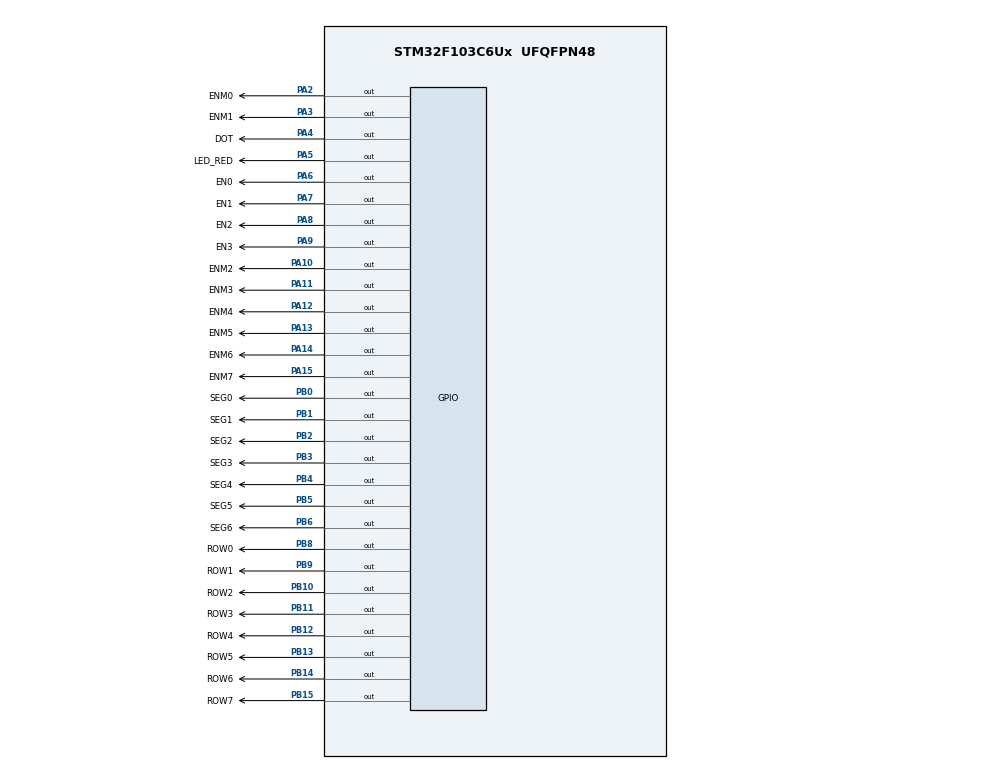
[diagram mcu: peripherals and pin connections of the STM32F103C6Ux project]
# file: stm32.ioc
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Mcu.Family=STM32F1
Mcu.Name=STM32F103C6Ux
Mcu.Package=UFQFPN48
NVIC.PriorityGroup=NVIC_PRIORITYGROUP_4
NVIC.TIM2_IRQn=true\:0\:0\:false\:false\:true\:true\:true
PA10.GPIO_Label=ENM2
PA10.Signal=GPIO_Output
PA11.GPIO_Label=ENM3
PA11.Signal=GPIO_Output
PA12.GPIO_Label=ENM4
PA12.Signal=GPIO_Output
PA13.GPIO_Label=ENM5
PA13.Signal=GPIO_Output
PA14.GPIO_Label=ENM6
PA14.Signal=GPIO_Output
PA15.GPIO_Label=ENM7
PA15.Signal=GPIO_Output
PA2.GPIO_Label=ENM0
PA2.Signal=GPIO_Output
PA3.GPIO_Label=ENM1
PA3.Signal=GPIO_Output
PA4.GPIO_Label=DOT
PA4.Signal=GPIO_Output
PA5.GPIO_Label=LED_RED
PA5.Signal=GPIO_Output
PA6.GPIO_Label=EN0
PA6.Signal=GPIO_Output
PA7.GPIO_Label=EN1
PA7.Signal=GPIO_Output
PA8.GPIO_Label=EN2
PA8.Signal=GPIO_Output
PA9.GPIO_Label=EN3
PA9.Signal=GPIO_Output
PB0.GPIO_Label=SEG0
PB0.Signal=GPIO_Output
PB1.GPIO_Label=SEG1
PB1.Signal=GPIO_Output
PB10.GPIO_Label=ROW2
PB10.Signal=GPIO_Output
PB11.GPIO_Label=ROW3
PB11.Signal=GPIO_Output
PB12.GPIO_Label=ROW4
PB12.Signal=GPIO_Output
PB13.GPIO_Label=ROW5
PB13.Signal=GPIO_Output
PB14.GPIO_Label=ROW6
PB14.Signal=GPIO_Output
PB15.GPIO_Label=ROW7
PB15.Signal=GPIO_Output
PB2.GPIO_Label=SEG2
PB2.Signal=GPIO_Output
PB3.GPIO_Label=SEG3
PB3.Signal=GPIO_Output
PB4.GPIO_Label=SEG4
PB4.Signal=GPIO_Output
PB5.GPIO_Label=SEG5
PB5.Signal=GPIO_Output
PB6.GPIO_Label=SEG6
PB6.Signal=GPIO_Output
PB8.GPIO_Label=ROW0
PB8.Signal=GPIO_Output
PB9.GPIO_Label=ROW1
PB9.Signal=GPIO_Output
ProjectManager.HeapSize=0x200
ProjectManager.StackSize=0x400
ProjectManager.TargetToolchain=STM32CubeIDE
RCC.APB1Freq_Value=8000000
RCC.APB2Freq_Value=8000000
TIM2.Period=9
TIM2.Prescaler=7999
VP_SYS_VS_ND.Mode=No_Debug
VP_TIM2_VS_ClockSourceINT.Mode=Internal
board=custom

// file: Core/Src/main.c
/* USER CODE BEGIN Header */
/**
  ******************************************************************************
  * @file           : main.c
  * @brief          : Main program body
  ******************************************************************************
  * @attention
  *
  * <h2><center>&copy; Copyright (c) 2022 STMicroelectronics.
  * All rights reserved.</center></h2>
  *
  * This software component is licensed by ST under BSD 3-Clause license,
  * the "License"; You may not use this file except in compliance with the
  * License. You may obtain a copy of the License at:
  *                        opensource.org/licenses/BSD-3-Clause
  *
  ******************************************************************************
  */
/* USER CODE END Header */
#include "main.h"

/* USER CODE BEGIN Includes */
//#include "fsm_automatic.h"
//#include "global.h"
#include "software_timer.h"
/* USER CODE END Includes */

TIM_HandleTypeDef htim2;

void SystemClock_Config(void);
static void MX_GPIO_Init(void);
static void MX_TIM2_Init(void);

int main(void)
{

  /* MCU Configuration--------------------------------------------------------*/

  /* Reset of all peripherals, Initializes the Flash interface and the Systick. */
  HAL_Init();

  /* Configure the system clock */
  SystemClock_Config();

  /* Initialize all configured peripherals */
  MX_GPIO_Init();
  MX_TIM2_Init();
  /* USER CODE BEGIN 2 */
  HAL_TIM_Base_Start_IT(&htim2);
  /* USER CODE END 2 */

  /* Infinite loop */
  /* USER CODE BEGIN WHILE */
  /*int led = 1;
  int index_led = 0;
  int led_buffer[4] = {0, 1, 2, 3};
  int hour = 15, minute = 8, second = 50;
  void updateClockBuffer(){
	  led_buffer[0]=(int)(hour/10);
	  led_buffer[1]=hour-10*(int)(hour/10);
	  led_buffer[2]=(int)(minute/10);
	  led_buffer[3]=minute-10*(int)(minute/10);
  }
  void display7SEG(int number){
  	HAL_GPIO_WritePin(SEG0_GPIO_Port,SEG0_Pin,0);
  	HAL_GPIO_WritePin(SEG1_GPIO_Port,SEG1_Pin,0);
  	HAL_GPIO_WritePin(SEG2_GPIO_Port,SEG2_Pin,0);
  	HAL_GPIO_WritePin(SEG3_GPIO_Port,SEG3_Pin,0);
  	HAL_GPIO_WritePin(SEG4_GPIO_Port,SEG4_Pin,0);
  	HAL_GPIO_WritePin(SEG5_GPIO_Port,SEG5_Pin,0);
  	HAL_GPIO_WritePin(SEG6_GPIO_Port,SEG6_Pin,0);
  	switch(number){
  	case 0:
  		HAL_GPIO_WritePin(SEG6_GPIO_Port,SEG6_Pin,1);
  		break;
  	case 1:
  		HAL_GPIO_WritePin(SEG0_GPIO_Port,SEG0_Pin,1);
  		HAL_GPIO_WritePin(SEG3_GPIO_Port,SEG3_Pin,1);
  		HAL_GPIO_WritePin(SEG4_GPIO_Port,SEG4_Pin,1);
  		HAL_GPIO_WritePin(SEG5_GPIO_Port,SEG5_Pin,1);
  		HAL_GPIO_WritePin(SEG6_GPIO_Port,SEG6_Pin,1);
  		break;
  	case 2:
  		HAL_GPIO_WritePin(SEG2_GPIO_Port,SEG2_Pin,1);
  		HAL_GPIO_WritePin(SEG5_GPIO_Port,SEG5_Pin,1);
  		break;
  	case 3:
  		HAL_GPIO_WritePin(SEG5_GPIO_Port,SEG5_Pin,1);
  		HAL_GPIO_WritePin(SEG4_GPIO_Port,SEG4_Pin,1);
  		break;
  	case 4:
  		HAL_GPIO_WritePin(SEG0_GPIO_Port,SEG0_Pin,1);
  		HAL_GPIO_WritePin(SEG3_GPIO_Port,SEG3_Pin,1);
  		HAL_GPIO_WritePin(SEG4_GPIO_Port,SEG4_Pin,1);
  		break;
  	case 5:
  		HAL_GPIO_WritePin(SEG1_GPIO_Port,SEG1_Pin,1);
  		HAL_GPIO_WritePin(SEG4_GPIO_Port,SEG4_Pin,1);
  		break;
  	case 6:
  		HAL_GPIO_WritePin(SEG1_GPIO_Port,SEG1_Pin,1);
  		break;
  	case 7:
  		HAL_GPIO_WritePin(SEG3_GPIO_Port,SEG3_Pin,1);
  		HAL_GPIO_WritePin(SEG4_GPIO_Port,SEG4_Pin,1);
  		HAL_GPIO_WritePin(SEG5_GPIO_Port,SEG5_Pin,1);
  		HAL_GPIO_WritePin(SEG6_GPIO_Port,SEG6_Pin,1);
  		break;
  	case 8:
  		break;
  	case 9:
  		HAL_GPIO_WritePin(SEG4_GPIO_Port,SEG4_Pin,1);
  		break;
  	default: break;
  	}
  }

  void update7SEG(int index){
      switch (index){
          case 0:
              //Display the first 7SEG with led_buffer[0]
          	HAL_GPIO_WritePin(EN0_GPIO_Port, EN0_Pin, GPIO_PIN_RESET);
          	HAL_GPIO_WritePin(EN1_GPIO_Port, EN1_Pin, GPIO_PIN_SET);
          	HAL_GPIO_WritePin(EN2_GPIO_Port, EN2_Pin, GPIO_PIN_SET);
          	HAL_GPIO_WritePin(EN3_GPIO_Port, EN3_Pin, GPIO_PIN_SET);
          	display7SEG(led_buffer[0]);
              break;
          case 1:
              //Display the second 7SEG with led_buffer[1]
          	HAL_GPIO_WritePin(EN0_GPIO_Port, EN0_Pin, GPIO_PIN_SET);
          	HAL_GPIO_WritePin(EN1_GPIO_Port, EN1_Pin, GPIO_PIN_RESET);
          	HAL_GPIO_WritePin(EN2_GPIO_Port, EN2_Pin, GPIO_PIN_SET);
          	HAL_GPIO_WritePin(EN3_GPIO_Port, EN3_Pin, GPIO_PIN_SET);
          	display7SEG(led_buffer[1]);
              break;
          case 2:
              //Display the third 7SEG with led_buffer[2]
          	HAL_GPIO_WritePin(EN0_GPIO_Port, EN0_Pin, GPIO_PIN_SET);
          	HAL_GPIO_WritePin(EN1_GPIO_Port, EN1_Pin, GPIO_PIN_SET);
          	HAL_GPIO_WritePin(EN2_GPIO_Port, EN2_Pin, GPIO_PIN_RESET);
          	HAL_GPIO_WritePin(EN3_GPIO_Port, EN3_Pin, GPIO_PIN_SET);
          	display7SEG(led_buffer[2]);
              break;
          case 3:
              //Display the forth 7SEG with led_buffer[3]
          	HAL_GPIO_WritePin(EN0_GPIO_Port, EN0_Pin, GPIO_PIN_SET);
          	HAL_GPIO_WritePin(EN1_GPIO_Port, EN1_Pin, GPIO_PIN_SET);
          	HAL_GPIO_WritePin(EN2_GPIO_Port, EN2_Pin, GPIO_PIN_SET);
          	HAL_GPIO_WritePin(EN3_GPIO_Port, EN3_Pin, GPIO_PIN_RESET);
          	display7SEG(led_buffer[3]);
              break;
          default:
              break;
      }
  }*/
  const int MAX_LED_MATRIX = 8;
  int index_led_matrix = 0;
  uint8_t matrix_buffer[8] = {0xf8,0xfc,0x26,0x23,0x23,0x26,0xfc,0xf8};
  void updateLEDMatrix(int index){
      switch (index){
          case 0:
        	  //COL 0
        	  HAL_GPIO_WritePin(GPIOA, ENM0_Pin, GPIO_PIN_RESET);
        	  HAL_GPIO_WritePin(GPIOA, ENM1_Pin|ENM2_Pin|ENM3_Pin|ENM4_Pin|ENM5_Pin|ENM6_Pin|ENM7_Pin, GPIO_PIN_SET);
        	  //ROW
        	  HAL_GPIO_WritePin(GPIOB, matrix_buffer[index]<<8 ,GPIO_PIN_RESET);
        	  HAL_GPIO_WritePin(GPIOB, (~(matrix_buffer[index]<<8))&(0xFF00) ,GPIO_PIN_SET);
              break;
          case 1:
        	  //COL 1
        	  HAL_GPIO_WritePin(GPIOA, ENM1_Pin, GPIO_PIN_RESET);
        	  HAL_GPIO_WritePin(GPIOA, ENM0_Pin|ENM2_Pin|ENM3_Pin|ENM4_Pin|ENM5_Pin|ENM6_Pin|ENM7_Pin, GPIO_PIN_SET);
        	  //ROW
        	  HAL_GPIO_WritePin(GPIOB, matrix_buffer[index]<<8 ,GPIO_PIN_RESET);
        	  HAL_GPIO_WritePin(GPIOB, (~(matrix_buffer[index]<<8))&(0xFF00) ,GPIO_PIN_SET);
              break;
          case 2:
        	  //COL 2
        	  HAL_GPIO_WritePin(GPIOA, ENM2_Pin, GPIO_PIN_RESET);
        	  HAL_GPIO_WritePin(GPIOA, ENM1_Pin|ENM0_Pin|ENM3_Pin|ENM4_Pin|ENM5_Pin|ENM6_Pin|ENM7_Pin, GPIO_PIN_SET);
        	  //ROW
        	  HAL_GPIO_WritePin(GPIOB, matrix_buffer[index]<<8 ,GPIO_PIN_RESET);
        	  HAL_GPIO_WritePin(GPIOB, (~(matrix_buffer[index]<<8))&(0xFF00) ,GPIO_PIN_SET);
              break;
          case 3:
        	  //COL 2
        	  HAL_GPIO_WritePin(GPIOA, ENM2_Pin, GPIO_PIN_RESET);
        	  HAL_GPIO_WritePin(GPIOA, ENM1_Pin|ENM0_Pin|ENM3_Pin|ENM4_Pin|ENM5_Pin|ENM6_Pin|ENM7_Pin, GPIO_PIN_SET);
        	  //ROW
        	  HAL_GPIO_WritePin(GPIOB, matrix_buffer[index]<<8 ,GPIO_PIN_RESET);
        	  HAL_GPIO_WritePin(GPIOB, (~(matrix_buffer[index]<<8))&(0xFF00) ,GPIO_PIN_SET);
              break;
          case 4:
        	  //COL 4
        	  HAL_GPIO_WritePin(GPIOA, ENM4_Pin, GPIO_PIN_RESET);
        	  HAL_GPIO_WritePin(GPIOA, ENM1_Pin|ENM2_Pin|ENM3_Pin|ENM0_Pin|ENM5_Pin|ENM6_Pin|ENM7_Pin, GPIO_PIN_SET);
        	  //ROW
        	  HAL_GPIO_WritePin(GPIOB, matrix_buffer[index]<<8 ,GPIO_PIN_RESET);
        	  HAL_GPIO_WritePin(GPIOB, (~(matrix_buffer[index]<<8))&(0xFF00) ,GPIO_PIN_SET);
              break;
          case 5:
        	  //COL 5
        	  HAL_GPIO_WritePin(GPIOA, ENM5_Pin, GPIO_PIN_RESET);
        	  HAL_GPIO_WritePin(GPIOA, ENM1_Pin|ENM2_Pin|ENM3_Pin|ENM0_Pin|ENM4_Pin|ENM6_Pin|ENM7_Pin, GPIO_PIN_SET);
        	  //ROW
        	  HAL_GPIO_WritePin(GPIOB, matrix_buffer[index]<<8 ,GPIO_PIN_RESET);
        	  HAL_GPIO_WritePin(GPIOB, (~(matrix_buffer[index]<<8))&(0xFF00) ,GPIO_PIN_SET);
              break;
          case 6:
        	  //COL 6
        	  HAL_GPIO_WritePin(GPIOA, ENM6_Pin, GPIO_PIN_RESET);
        	  HAL_GPIO_WritePin(GPIOA, ENM1_Pin|ENM2_Pin|ENM3_Pin|ENM0_Pin|ENM5_Pin|ENM4_Pin|ENM7_Pin, GPIO_PIN_SET);
        	  //ROW
        	  HAL_GPIO_WritePin(GPIOB, matrix_buffer[index]<<8 ,GPIO_PIN_RESET);
        	  HAL_GPIO_WritePin(GPIOB, (~(matrix_buffer[index]<<8))&(0xFF00) ,GPIO_PIN_SET);
              break;
          case 7:
        	  //COL 7
        	  HAL_GPIO_WritePin(GPIOA, ENM7_Pin, GPIO_PIN_RESET);
        	  HAL_GPIO_WritePin(GPIOA, ENM1_Pin|ENM2_Pin|ENM3_Pin|ENM0_Pin|ENM5_Pin|ENM6_Pin|ENM4_Pin, GPIO_PIN_SET);
        	  //ROW
        	  HAL_GPIO_WritePin(GPIOB, matrix_buffer[index]<<8 ,GPIO_PIN_RESET);
        	  HAL_GPIO_WritePin(GPIOB, (~(matrix_buffer[index]<<8))&(0xFF00) ,GPIO_PIN_SET);
              break;
          default:
              break;
      }
  }

  setTimer0(100);
  while (1)
  {
    /* USER CODE END WHILE */
    /* USER CODE BEGIN 3 */
	  if(timer0_flag==1){
		  setTimer0(100);
		  if(index_led_matrix<MAX_LED_MATRIX)
		  updateLEDMatrix(index_led_matrix++);
		  if(index_led_matrix==MAX_LED_MATRIX) index_led_matrix=0;
	  }
  /* USER CODE END 3 */
  }
}
void SystemClock_Config(void)
{
  RCC_OscInitTypeDef RCC_OscInitStruct = {0};
  RCC_ClkInitTypeDef RCC_ClkInitStruct = {0};

  /** Initializes the RCC Oscillators according to the specified parameters
  * in the RCC_OscInitTypeDef structure.
  */
  RCC_OscInitStruct.OscillatorType = RCC_OSCILLATORTYPE_HSI;
  RCC_OscInitStruct.HSIState = RCC_HSI_ON;
  RCC_OscInitStruct.HSICalibrationValue = RCC_HSICALIBRATION_DEFAULT;
  RCC_OscInitStruct.PLL.PLLState = RCC_PLL_NONE;
  if (HAL_RCC_OscConfig(&RCC_OscInitStruct) != HAL_OK)
  {
    Error_Handler();
  }
  /** Initializes the CPU, AHB and APB buses clocks
  */
  RCC_ClkInitStruct.ClockType = RCC_CLOCKTYPE_HCLK|RCC_CLOCKTYPE_SYSCLK
                              |RCC_CLOCKTYPE_PCLK1|RCC_CLOCKTYPE_PCLK2;
  RCC_ClkInitStruct.SYSCLKSource = RCC_SYSCLKSOURCE_HSI;
  RCC_ClkInitStruct.AHBCLKDivider = RCC_SYSCLK_DIV1;
  RCC_ClkInitStruct.APB1CLKDivider = RCC_HCLK_DIV1;
  RCC_ClkInitStruct.APB2CLKDivider = RCC_HCLK_DIV1;

  if (HAL_RCC_ClockConfig(&RCC_ClkInitStruct, FLASH_LATENCY_0) != HAL_OK)
  {
    Error_Handler();
  }
}

static void MX_TIM2_Init(void)
{

  TIM_ClockConfigTypeDef sClockSourceConfig = {0};
  TIM_MasterConfigTypeDef sMasterConfig = {0};

  htim2.Instance = TIM2;
  htim2.Init.Prescaler = 7999;
  htim2.Init.CounterMode = TIM_COUNTERMODE_UP;
  htim2.Init.Period = 9;
  htim2.Init.ClockDivision = TIM_CLOCKDIVISION_DIV1;
  htim2.Init.AutoReloadPreload = TIM_AUTORELOAD_PRELOAD_DISABLE;
  if (HAL_TIM_Base_Init(&htim2) != HAL_OK)
  {
    Error_Handler();
  }
  sClockSourceConfig.ClockSource = TIM_CLOCKSOURCE_INTERNAL;
  if (HAL_TIM_ConfigClockSource(&htim2, &sClockSourceConfig) != HAL_OK)
  {
    Error_Handler();
  }
  sMasterConfig.MasterOutputTrigger = TIM_TRGO_RESET;
  sMasterConfig.MasterSlaveMode = TIM_MASTERSLAVEMODE_DISABLE;
  if (HAL_TIMEx_MasterConfigSynchronization(&htim2, &sMasterConfig) != HAL_OK)
  {
    Error_Handler();
  }

}

static void MX_GPIO_Init(void)
{
  GPIO_InitTypeDef GPIO_InitStruct = {0};

  /* GPIO Ports Clock Enable */
  __HAL_RCC_GPIOA_CLK_ENABLE();
  __HAL_RCC_GPIOB_CLK_ENABLE();

  /*Configure GPIO pin Output Level */
  HAL_GPIO_WritePin(GPIOA, ENM0_Pin|ENM1_Pin|DOT_Pin|LED_RED_Pin
                          |EN0_Pin|EN1_Pin|EN2_Pin|EN3_Pin
                          |ENM2_Pin|ENM3_Pin|ENM4_Pin|ENM5_Pin
                          |ENM6_Pin|ENM7_Pin, GPIO_PIN_RESET);

  /*Configure GPIO pin Output Level */
  HAL_GPIO_WritePin(GPIOB, SEG0_Pin|SEG1_Pin|SEG2_Pin|ROW2_Pin
                          |ROW3_Pin|ROW4_Pin|ROW5_Pin|ROW6_Pin
                          |ROW7_Pin|SEG3_Pin|SEG4_Pin|SEG5_Pin
                          |SEG6_Pin|ROW0_Pin|ROW1_Pin, GPIO_PIN_RESET);

  /*Configure GPIO pins : ENM0_Pin ENM1_Pin DOT_Pin LED_RED_Pin
                           EN0_Pin EN1_Pin EN2_Pin EN3_Pin
                           ENM2_Pin ENM3_Pin ENM4_Pin ENM5_Pin
                           ENM6_Pin ENM7_Pin */
  GPIO_InitStruct.Pin = ENM0_Pin|ENM1_Pin|DOT_Pin|LED_RED_Pin
                          |EN0_Pin|EN1_Pin|EN2_Pin|EN3_Pin
                          |ENM2_Pin|ENM3_Pin|ENM4_Pin|ENM5_Pin
                          |ENM6_Pin|ENM7_Pin;
  GPIO_InitStruct.Mode = GPIO_MODE_OUTPUT_PP;
  GPIO_InitStruct.Pull = GPIO_NOPULL;
  GPIO_InitStruct.Speed = GPIO_SPEED_FREQ_LOW;
  HAL_GPIO_Init(GPIOA, &GPIO_InitStruct);

  /*Configure GPIO pins : SEG0_Pin SEG1_Pin SEG2_Pin ROW2_Pin
                           ROW3_Pin ROW4_Pin ROW5_Pin ROW6_Pin
                           ROW7_Pin SEG3_Pin SEG4_Pin SEG5_Pin
                           SEG6_Pin ROW0_Pin ROW1_Pin */
  GPIO_InitStruct.Pin = SEG0_Pin|SEG1_Pin|SEG2_Pin|ROW2_Pin
                          |ROW3_Pin|ROW4_Pin|ROW5_Pin|ROW6_Pin
                          |ROW7_Pin|SEG3_Pin|SEG4_Pin|SEG5_Pin
                          |SEG6_Pin|ROW0_Pin|ROW1_Pin;
  GPIO_InitStruct.Mode = GPIO_MODE_OUTPUT_PP;
  GPIO_InitStruct.Pull = GPIO_NOPULL;
  GPIO_InitStruct.Speed = GPIO_SPEED_FREQ_LOW;
  HAL_GPIO_Init(GPIOB, &GPIO_InitStruct);

}

/* USER CODE BEGIN 4 */

void HAL_TIM_PeriodElapsedCallback(TIM_HandleTypeDef *htim){
	timer_run();
}

/* USER CODE END 4 */

void Error_Handler(void)
{
  __disable_irq();
  while (1)
  {
  }
}

/************************ (C) COPYRIGHT STMicroelectronics *****END OF FILE****/
